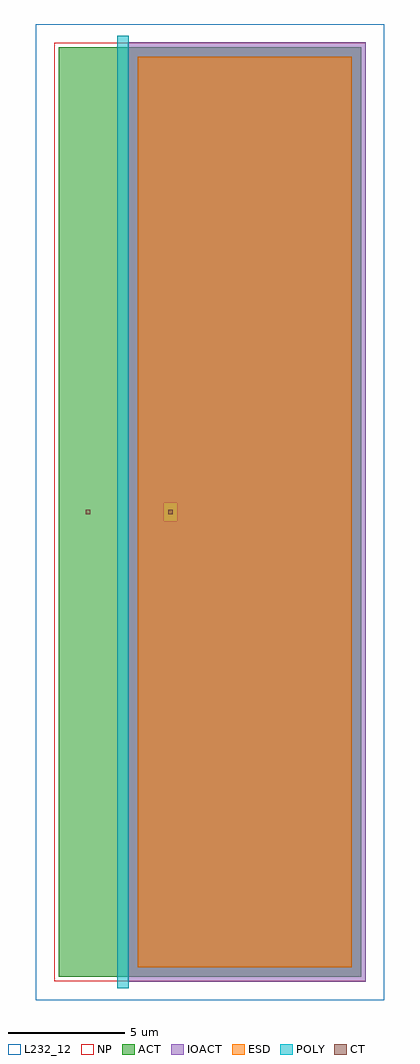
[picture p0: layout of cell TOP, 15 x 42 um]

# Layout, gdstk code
import gdstk
lib = gdstk.Library(unit=1e-6, precision=1e-09)
def R(c, l, rs):  # rectangles x0, y0, x1, y1
    for r in rs: c.add(gdstk.rectangle(r[:2], r[2:], *l))
ACT = (2, 1)
POLY = (41, 1)
NP = (52, 1)
ESD = (55, 1)
IOACT = (71, 1)
CT = (72, 1)
L232_12 = (232, 12)

top = lib.new_cell('TOP')
R(top, ACT, [(0,0,13,40)])
R(top, POLY, [(2.5,-0.5,3,40.5)])
R(top, NP, [(-0.2,-0.2,13.2,40.2)])
R(top, ESD, [(3.4,0.4,12.6,39.6)])
R(top, IOACT, [(2.95,-0.21,13.21,19.6), (2.95,19.6,4.5,20.4), (5.1,19.6,13.21,20.4), (2.95,20.4,13.21,40.21)])
R(top, CT, [(1.16,19.91,1.34,20.09), (4.71,19.91,4.89,20.09)])
R(top, L232_12, [(-1,-1,14,41)])

lib.write_gds('TOP.gds')
